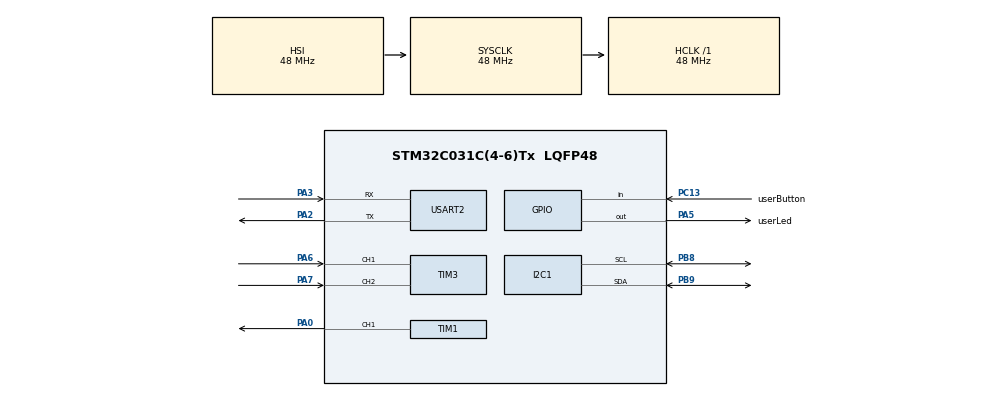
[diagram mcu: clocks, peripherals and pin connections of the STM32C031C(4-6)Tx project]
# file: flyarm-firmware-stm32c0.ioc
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I2C1.Timing=0x10805D88
Mcu.Family=STM32C0
Mcu.Name=STM32C031C(4-6)Tx
Mcu.Package=LQFP48
NVIC.TIM14_IRQn=true\:0\:0\:false\:false\:true\:true\:true\:true
PA0.Signal=S_TIM1_CH1
PA13.Mode=Serial_Wire
PA13.Signal=DEBUG_SWDIO
PA14-BOOT0.Mode=Serial_Wire
PA14-BOOT0.Signal=DEBUG_SWCLK
PA2.Mode=Asynchronous
PA2.Signal=USART2_TX
PA3.Mode=Asynchronous
PA3.Signal=USART2_RX
PA5.GPIO_Label=userLed
PA5.Signal=GPIO_Output
PA6.Signal=S_TIM3_CH1
PA7.Signal=S_TIM3_CH2
PB8.Mode=I2C
PB8.Signal=I2C1_SCL
PB9.Mode=I2C
PB9.Signal=I2C1_SDA
PC13.GPIO_Label=userButton
PC13.Signal=GPIO_Input
ProjectManager.HeapSize=0x200
ProjectManager.StackSize=0x400
ProjectManager.TargetToolchain=Makefile
RCC.ADCFreq_Value=48000000
RCC.AHBFreq_Value=48000000
RCC.CortexFreq_Value=48000000
RCC.EXTERNAL_CLOCK_VALUE=12288000
RCC.HCLKFreq_Value=48000000
RCC.HSE_VALUE=8000000
RCC.HSISYSCLKDivider=RCC_HSI_DIV1
RCC.HSI_VALUE=48000000
RCC.LSE_VALUE=32768
RCC.SYSCLKFreq_VALUE=48000000
SH.S_TIM1_CH1.0=TIM1_CH1,PWM Generation1 CH1
SH.S_TIM3_CH1.0=TIM3_CH1,Encoder_Interface
SH.S_TIM3_CH2.0=TIM3_CH2,Encoder_Interface
TIM1.Channel-PWM\ Generation1\ CH1=TIM_CHANNEL_1
TIM1.Period=20000-1
TIM1.Prescaler=48-1
TIM14.Period=10000-1
TIM14.Prescaler=48-1
TIM3.IC1Filter=15
USART2.VirtualMode-Asynchronous=VM_ASYNC
VP_TIM14_VS_ClockSourceINT.Mode=Enable_Timer
VP_TIM1_VS_ClockSourceINT.Mode=Internal
board=custom

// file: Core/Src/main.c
/* USER CODE BEGIN Header */
/**
  ******************************************************************************
  * @file           : main.c
  * @brief          : Main program body
  ******************************************************************************
  * @attention
  *
  * Copyright (c) 2026 STMicroelectronics.
  * All rights reserved.
  *
  * This software is licensed under terms that can be found in the LICENSE file
  * in the root directory of this software component.
  * If no LICENSE file comes with this software, it is provided AS-IS.
  *
  ******************************************************************************
  */
/* USER CODE END Header */
#include "main.h"
#include "i2c.h"
#include "tim.h"
#include "usart.h"
#include "gpio.h"

/* USER CODE BEGIN Includes */

#include <stdio.h>
#include "mpu6050.h"

/* USER CODE END Includes */

void SystemClock_Config(void);

/* USER CODE BEGIN 0 */

int __io_putchar(int ch){
  if(ch == '\n'){
    uint8_t ch2 = '\r';
    HAL_UART_Transmit(&huart2, &ch2, 1, HAL_MAX_DELAY);
  }
  HAL_UART_Transmit(&huart2, (uint8_t*)&ch, 1, HAL_MAX_DELAY);
  return 0;
}

volatile uint8_t dataReady = 0;
float roll, dGyro, angle;
int16_t encoder = 0;
uint8_t estop;
float eAccum = 0.0f;
float dt = 0.01f;
int16_t control, pwmVal, throttle;

void HAL_TIM_PeriodElapsedCallback(TIM_HandleTypeDef *htim){
  if(htim == &htim14){
    // Mpu6050
    mpu6050_readRoll(&roll, &dGyro, 0.98f, 0.3f, dt);
    angle = roll + 90.0f;

    //Encoder
    encoder = (__HAL_TIM_GET_COUNTER(&htim3))*(-1);
    if(encoder < 0) encoder = 0;
    if(encoder > 180) encoder = 180;

    // Safety stop
    if(angle > 160.0f) estop = 1;
    if(HAL_GPIO_ReadPin(userButton_GPIO_Port, userButton_Pin) == GPIO_PIN_RESET) estop = 0;

    // Regulator
    float kp = 3.5f;
    float ki = 15.0f;
    float kd = 0.5f;

    float setAngle = (float)encoder;
    float e = setAngle - angle;
    eAccum += e*dt;

    // Anty windup
    if(eAccum > 22.0f) eAccum = 22.0f;
    if(eAccum < 0.0f) eAccum = 0.0f;
    if(encoder == 0 || estop == 1) eAccum = 0.0f;

    control = kp*e + ki*eAccum + kd*dGyro*(-1);

    // Motor
    pwmVal = control + 160;
    if(pwmVal < 160) pwmVal = 160;
    if(pwmVal > 500) pwmVal = 500;

    if(estop == 0 && encoder > 0)
      throttle = 1000+pwmVal;
    else
      throttle = 1000;

    __HAL_TIM_SET_COMPARE(&htim1, TIM_CHANNEL_1, throttle);

    dataReady = 1;
  }
}

/* USER CODE END 0 */

int main(void)
{

  /* MCU Configuration--------------------------------------------------------*/

  /* Reset of all peripherals, Initializes the Flash interface and the Systick. */
  HAL_Init();

  /* Configure the system clock */
  SystemClock_Config();

  /* Initialize all configured peripherals */
  MX_GPIO_Init();
  MX_USART2_UART_Init();
  MX_I2C1_Init();
  MX_TIM14_Init();
  MX_TIM1_Init();
  MX_TIM3_Init();
  /* USER CODE BEGIN 2 */

  HAL_Delay(100);
  mpu6050_init(&hi2c1, 0x68<<1);
  HAL_Delay(100);
  mpu6050_calibrateGyro(100);

  HAL_TIM_Encoder_Start(&htim3, TIM_CHANNEL_ALL);

  HAL_TIM_Base_Start(&htim1);
  HAL_TIM_PWM_Start(&htim1, TIM_CHANNEL_1);
  __HAL_TIM_SET_COMPARE(&htim1, TIM_CHANNEL_1, 1000);

  HAL_TIM_Base_Start_IT(&htim14);

  HAL_GPIO_WritePin(userLed_GPIO_Port, userLed_Pin, GPIO_PIN_SET);

  /* USER CODE END 2 */

  /* Infinite loop */
  /* USER CODE BEGIN WHILE */
  while (1)
  {

    if(dataReady){
      printf(">roll:%d\n", (int16_t)angle);
      printf(">encoer:%d\n", encoder);
      printf(">throttle:%d\n",throttle);
      dataReady = 0;
    }
    /* USER CODE END WHILE */

  }
}

void SystemClock_Config(void)
{
  RCC_OscInitTypeDef RCC_OscInitStruct = {0};
  RCC_ClkInitTypeDef RCC_ClkInitStruct = {0};

  __HAL_FLASH_SET_LATENCY(FLASH_LATENCY_1);

  /** Initializes the RCC Oscillators according to the specified parameters
  * in the RCC_OscInitTypeDef structure.
  */
  RCC_OscInitStruct.OscillatorType = RCC_OSCILLATORTYPE_HSI;
  RCC_OscInitStruct.HSIState = RCC_HSI_ON;
  RCC_OscInitStruct.HSIDiv = RCC_HSI_DIV1;
  RCC_OscInitStruct.HSICalibrationValue = RCC_HSICALIBRATION_DEFAULT;
  if (HAL_RCC_OscConfig(&RCC_OscInitStruct) != HAL_OK)
  {
    Error_Handler();
  }

  /** Initializes the CPU, AHB and APB buses clocks
  */
  RCC_ClkInitStruct.ClockType = RCC_CLOCKTYPE_HCLK|RCC_CLOCKTYPE_SYSCLK
                              |RCC_CLOCKTYPE_PCLK1;
  RCC_ClkInitStruct.SYSCLKSource = RCC_SYSCLKSOURCE_HSI;
  RCC_ClkInitStruct.SYSCLKDivider = RCC_SYSCLK_DIV1;
  RCC_ClkInitStruct.AHBCLKDivider = RCC_HCLK_DIV1;
  RCC_ClkInitStruct.APB1CLKDivider = RCC_APB1_DIV1;

  if (HAL_RCC_ClockConfig(&RCC_ClkInitStruct, FLASH_LATENCY_1) != HAL_OK)
  {
    Error_Handler();
  }
}

void Error_Handler(void)
{
  __disable_irq();
  while (1)
  {
  }
}
